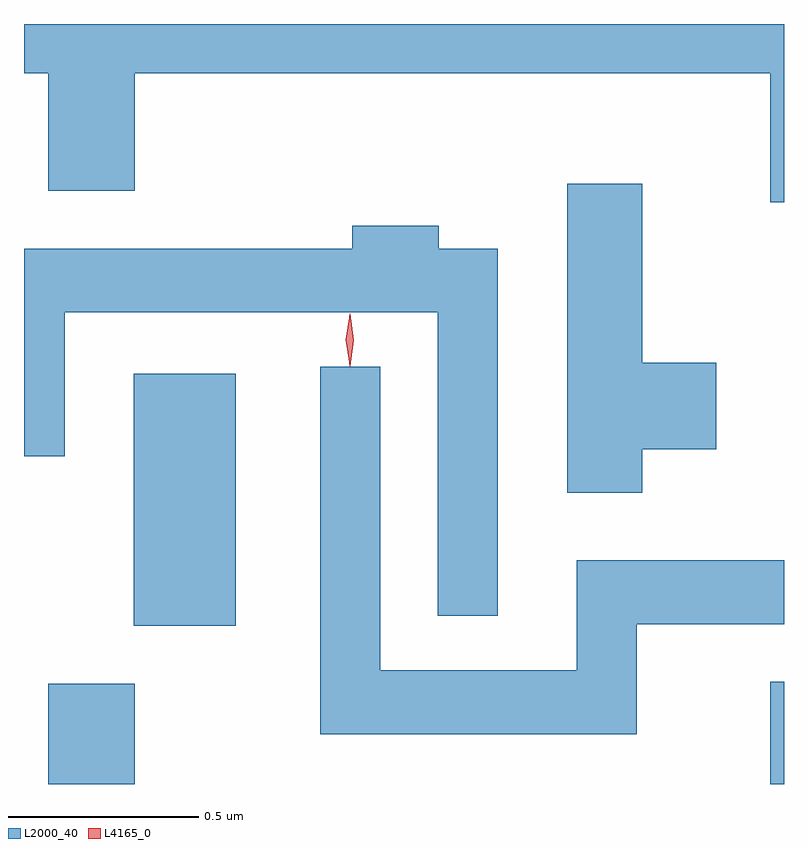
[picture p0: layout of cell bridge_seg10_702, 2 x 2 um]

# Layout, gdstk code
import gdstk
lib = gdstk.Library(unit=1e-6, precision=1e-09)
def R(c, l, rs):  # rectangles x0, y0, x1, y1
    for r in rs: c.add(gdstk.rectangle(r[:2], r[2:], *l))
def P(c, l, *ps):  # polygons
    for p in ps: c.add(gdstk.Polygon(p, *l))
L2000_40 = (2000, 40)
L4165_0 = (4165, 0)

bridge_seg10_702 = lib.new_cell('bridge_seg10_702')
R(bridge_seg10_702, L2000_40, [(849.961,2140.905,850.189,2141.169), (851.861,2140.905,851.897,2141.174), (850.186,2141.321,850.454,2141.984)])
P(bridge_seg10_702, L2000_40, [(851.897,2142.905),(849.897,2142.905),(849.897,2142.776),(849.961,2142.776),(849.961,2142.466),(850.189,2142.466),(850.189,2142.776),(851.861,2142.776),(851.861,2142.436),(851.897,2142.436)],
  [(851.524,2141.786),(851.719,2141.786),(851.719,2142.014),(851.524,2142.014),(851.524,2142.484),(851.326,2142.484),(851.326,2141.671),(851.524,2141.671)],
  [(851.144,2142.314),(850.989,2142.314),(850.989,2142.374),(850.761,2142.374),(850.761,2142.314),(849.897,2142.314),(849.897,2141.768),(850.004,2141.768),(850.004,2142.146),(850.986,2142.146),(850.986,2141.348),(851.144,2141.348)],
  [(851.509,2141.326),(851.897,2141.326),(851.897,2141.494),(851.351,2141.494),(851.351,2141.204),(850.834,2141.204),(850.834,2142.003),(850.676,2142.003),(850.676,2141.036),(851.509,2141.036)])
P(bridge_seg10_702, L4165_0, [(850.754,2142.007),(850.754,2142.008),(850.744,2142.074),(850.754,2142.14),(850.754,2142.14),(850.755,2142.14),(850.764,2142.074),(850.755,2142.008)],
  [(850.754,2142.004),(850.745,2142.073),(850.754,2142.142),(850.755,2142.143),(850.755,2142.142),(850.765,2142.073),(850.755,2142.004),(850.755,2142.004)])

lib.write_gds('bridge_seg10_702.gds')
